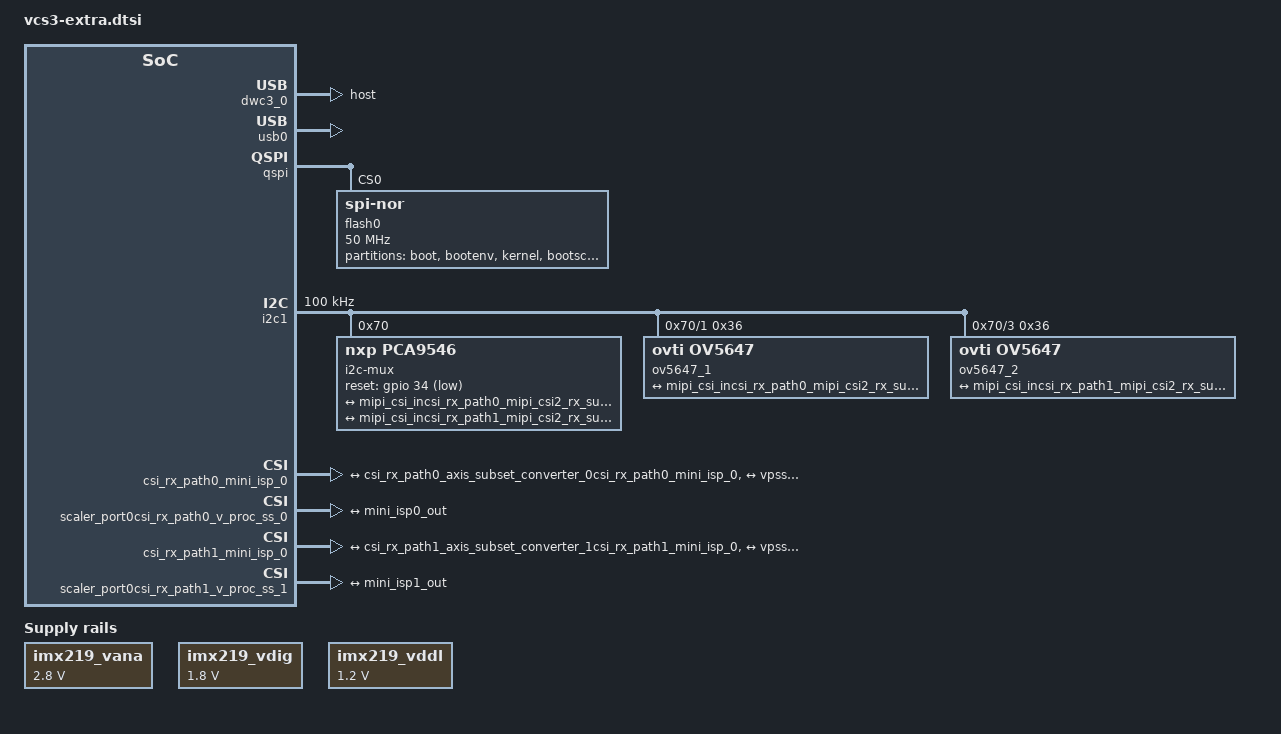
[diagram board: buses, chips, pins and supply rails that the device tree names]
/*
 * SPDX-FileCopyrightText: Copyright (c) 2026 Advanced Micro Devices, Inc. All rights reserved.
 * SPDX-FileCopyrightText: Copyright (c) 2026 Sundance Multiprocessor Technology Ltd.
 * SPDX-FileCopyrightText: Copyright (c) 2026 Timor Knudsen (AMD)
 *
 * SPDX-License-Identifier: GPL-2.0-only
 */

&amba {
	/*zocl: zyxclmm_drm {
		compatible = "xlnx,zocl";
		status = "okay";
		interrupt-parent = <&gic>;
		interrupts = <0 89  4>, <0 90  4>, <0 91  4>, <0 92  4>,
		<0 93  4>, <0 94  4>, <0 95  4>, <0 96  4>;
	};*/

	ov5647_clk: ov5647_clk {
		#clock-cells = <0x0>;
		clock-frequency = <25000000>;
		compatible = "fixed-clock";
	};
	imx219_vana: fixedregulator@3 {
		compatible = "regulator-fixed";
		regulator-name = "imx219_vana";
		regulator-min-microvolt = <2800000>;
		regulator-max-microvolt = <2800000>;
		enable-active-high;
	};
	imx219_vdig: fixedregulator@4 {
		compatible = "regulator-fixed";
		regulator-name = "imx219_vdig";
		regulator-min-microvolt = <1800000>;
		regulator-max-microvolt = <1800000>;
	};
	imx219_vddl: fixedregulator@5 {
		compatible = "regulator-fixed";
		regulator-name = "imx219_vddl";
		regulator-min-microvolt = <1200000>;
		regulator-max-microvolt = <1200000>;
	};
};

/*-------------------- SD0 eMMC ----------------*/
&sdhci0 {
    // disable-wp;
    no-1-8-v;
};

&dwc3_0 {
    status = "okay";
    dr_mode = "host";
    maximum-speed = "super-speed";
};

&usb0 {
    status = "okay";
    /delete-property/ clocks;
    /delete-property/ clock-names;
    clocks = <0x3 0x20>;
    clock-names = "bus_clk";
};


&qspi {
    status = "okay";
    #address-cells = <1>;
    #size-cells = <0>;
    status = "okay";
    flash0: flash@0 {
	spi-rx-bus-width = <4>;
        spi-tx-bus-width = <4>;
	parallel-memories = <0x00 0x4000000 0x00 0x4000000>;
	compatible ="jedec,spi-nor", "n25q512a", "micron,m25p80";
	reg = <0x0>;
	#address-cells = <0x1>;
        #size-cells = <0x1>;
        spi-max-frequency = <50000000>;
	partition@0 {
		label = "boot";
		reg = <0x00000000 0x01e00000>;
	};
	partition@1 {
		label = "bootenv";
		reg = <0x01e00000 0x00040000>;
	};
	partition@2 {
		label = "kernel";
		reg = <0x01e40000 0x02040000>;
	};
	partition@3 {
		label = "bootscr";
		reg = <0x03e80000 0x00180000>;
	};
	partition@4 {
		label = "rootfs";
		reg = <0x04000000 0x40000000>;
	};
    };
};

&i2c1 {
	clock-frequency = <100000>;
	status = "okay";

	i2c-mux@70 {
		compatible = "nxp,pca9546";
		#address-cells = <1>;
		#size-cells = <0>;
		reg = <0x70>;
		reset-gpios = <&gpio 34 1>;

		i2c@1 {
			#address-cells = <1>;
			#size-cells = <0>;
			reg = <1>;

			ov5647_1: sensor1@36 {
				compatible = "ovti,ov5647";
				reg = <0x36>;
				clocks = <&ov5647_clk>;

				port@0 {
					reg = <0>;
					sensor_out1: endpoint {
						clock-lanes = <0>;
						data-lanes = <1>;
						clock-noncontinuous;
						link-frequencies = /bits/ 64 <456000000>;
						remote-endpoint = <&mipi_csi_incsi_rx_path0_mipi_csi2_rx_subsyst_0>;
					};
				};
			};
		};

		i2c@3 {
			#address-cells = <1>;
			#size-cells = <0>;
			reg = <3>;

			ov5647_2: sensor2@36 {
				compatible = "ovti,ov5647";
				reg = <0x36>;
				clocks = <&ov5647_clk>;

				port@0 {
					reg = <0>;
					sensor_out2: endpoint {
						clock-lanes = <0>;
						data-lanes = <1>;
						clock-noncontinuous;
						link-frequencies = /bits/ 64 <456000000>;
						remote-endpoint = <&mipi_csi_incsi_rx_path1_mipi_csi2_rx_subsyst_1>;
					};
				};
			};
		};
	};
};

&mipi_csi_incsi_rx_path0_mipi_csi2_rx_subsyst_0 {
	remote-endpoint = <&sensor_out1>;
};

&mipi_csi_incsi_rx_path1_mipi_csi2_rx_subsyst_1 {
	remote-endpoint = <&sensor_out2>;
};

&csi_rx_path0_mipi_csi2_rx_subsyst_0 {
	xlnx,en-active-lanes;
};

&csi_rx_path1_mipi_csi2_rx_subsyst_1 {
	xlnx,en-active-lanes;
};

&csi_rx_path0_mini_isp_0 {
	ports {
		#address-cells = <1>;
		#size-cells = <0>;

		port@0 {
			reg = <0>;
			mini_isp0_in: endpoint {
				remote-endpoint = <&csi_rx_path0_axis_subset_converter_0csi_rx_path0_mini_isp_0>;
			};
		};

		port@1 {
			reg = <1>;
			mini_isp0_out: endpoint {
				remote-endpoint = <&vpss0_in>;
			};
		};
	};
};

&csi_rx_path0_axis_subset_converter_0csi_rx_path0_mini_isp_0 {
	remote-endpoint = <&mini_isp0_in>;
};

&scaler_port0csi_rx_path0_v_proc_ss_0 {
	vpss0_in: endpoint {
		remote-endpoint = <&mini_isp0_out>;
	};
};

&csi_rx_path1_mini_isp_0 {
	ports {
		#address-cells = <1>;
		#size-cells = <0>;

		port@0 {
			reg = <0>;
			mini_isp1_in: endpoint {
				remote-endpoint = <&csi_rx_path1_axis_subset_converter_1csi_rx_path1_mini_isp_0>;
			};
		};

		port@1 {
			reg = <1>;
			mini_isp1_out: endpoint {
				remote-endpoint = <&vpss1_in>;
			};
		};
	};
};

&csi_rx_path1_axis_subset_converter_1csi_rx_path1_mini_isp_0 {
	remote-endpoint = <&mini_isp1_in>;
};

&scaler_port0csi_rx_path1_v_proc_ss_1 {
	vpss1_in: endpoint {
		remote-endpoint = <&mini_isp1_out>;
	};
};

&csi_rx_path1_v_proc_ss_1 {
	compatible = "xlnx,v-vpss-scaler-2.2";
	xlnx,max-height = <1200>;
	xlnx,max-width = <1920>;
};

&csi_rx_path0_v_proc_ss_0 {
	compatible = "xlnx,v-vpss-scaler-2.2";
	xlnx,max-height = <1200>;
	xlnx,max-width = <1920>;
};

&xx_mix_masterdsi_display_path_v_mix_0 {
	xlnx,layer-max-height = <1200>;
	xlnx,layer-max-width = <1920>;
};

&csi_rx_path0_v_frmbuf_wr_0 {
	xlnx,max-height = <1200>;
	xlnx,max-width = <1920>;
};

&csi_rx_path1_v_frmbuf_wr_0 {
	xlnx,max-height = <1200>;
	xlnx,max-width = <1920>;
};

&dsi_display_path_v_frmbuf_rd_0 {
	xlnx,max-height = <1200>;
	xlnx,max-width = <1920>;
};
